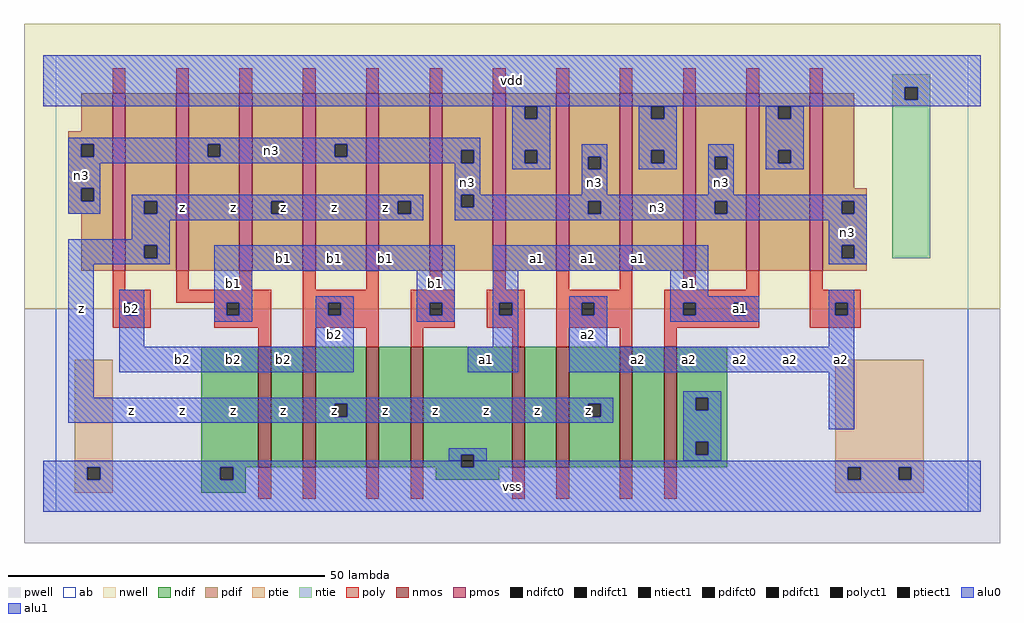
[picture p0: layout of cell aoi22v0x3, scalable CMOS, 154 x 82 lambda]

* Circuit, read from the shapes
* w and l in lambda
.subckt aoi22v0x3 a1 a2 b1 b2 n3 vdd vss z
M1 n1 b1 vss vss nfet w=19 l=2
M2 z b2 n1 vss nfet w=19 l=2
M3 n2 b2 z vss nfet w=19 l=2
M4 vss b1 n2 vss nfet w=19 l=2
M5 n4 a1 vss vss nfet w=19 l=2
M6 z a2 n4 vss nfet w=19 l=2
M7 n5 a2 z vss nfet w=19 l=2
M8 vss a1 n5 vss nfet w=19 l=2
M9 z b2 n3 vdd pfet w=28 l=2 m=3
M10 n3 b1 z vdd pfet w=28 l=2 m=3
M11 vdd a1 n3 vdd pfet w=28 l=2 m=3
M12 n3 a2 vdd vdd pfet w=28 l=2 m=3
.ends

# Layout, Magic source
magic
tech scmos
<< ab >>
rect 0 0 144 72
<< nwell >>
rect -5 32 149 77
<< pwell >>
rect -5 -5 149 32
<< poly >>
rect 9 66 11 70
rect 19 66 21 70
rect 29 66 31 70
rect 39 66 41 70
rect 49 66 51 70
rect 59 66 61 70
rect 69 66 71 70
rect 79 66 81 70
rect 89 66 91 70
rect 99 66 101 70
rect 109 66 111 70
rect 119 66 121 70
rect 9 35 11 38
rect 19 35 21 38
rect 29 35 31 38
rect 39 35 41 38
rect 49 35 51 38
rect 59 35 61 38
rect 69 35 71 38
rect 79 35 81 38
rect 89 35 91 38
rect 99 35 101 38
rect 109 35 111 38
rect 9 33 15 35
rect 19 33 34 35
rect 9 31 11 33
rect 13 31 15 33
rect 9 29 15 31
rect 25 31 27 33
rect 29 31 34 33
rect 25 29 34 31
rect 32 26 34 29
rect 39 33 51 35
rect 39 31 43 33
rect 45 31 51 33
rect 39 29 51 31
rect 39 26 41 29
rect 49 26 51 29
rect 56 33 63 35
rect 56 31 59 33
rect 61 31 63 33
rect 56 29 63 31
rect 68 33 74 35
rect 68 31 70 33
rect 72 31 74 33
rect 68 29 74 31
rect 56 26 58 29
rect 72 26 74 29
rect 79 33 91 35
rect 79 31 83 33
rect 85 31 91 33
rect 79 29 91 31
rect 79 26 81 29
rect 89 26 91 29
rect 96 33 111 35
rect 96 31 99 33
rect 101 31 107 33
rect 109 31 111 33
rect 96 29 111 31
rect 119 35 121 38
rect 119 33 127 35
rect 119 31 123 33
rect 125 31 127 33
rect 119 29 127 31
rect 96 26 98 29
rect 32 2 34 7
rect 39 2 41 7
rect 49 2 51 7
rect 56 2 58 7
rect 72 2 74 7
rect 79 2 81 7
rect 89 2 91 7
rect 96 2 98 7
<< ndif >>
rect 23 7 32 26
rect 34 7 39 26
rect 41 17 49 26
rect 41 15 44 17
rect 46 15 49 17
rect 41 7 49 15
rect 51 7 56 26
rect 58 9 72 26
rect 58 7 64 9
rect 66 7 72 9
rect 74 7 79 26
rect 81 17 89 26
rect 81 15 84 17
rect 86 15 89 17
rect 81 7 89 15
rect 91 7 96 26
rect 98 18 106 26
rect 98 16 101 18
rect 103 16 106 18
rect 98 11 106 16
rect 98 9 101 11
rect 103 9 106 11
rect 98 7 106 9
rect 23 5 26 7
rect 28 5 30 7
rect 23 3 30 5
rect 60 5 70 7
<< pdif >>
rect 4 60 9 66
rect 2 58 9 60
rect 2 56 4 58
rect 6 56 9 58
rect 2 51 9 56
rect 2 49 4 51
rect 6 49 9 51
rect 2 47 9 49
rect 4 38 9 47
rect 11 49 19 66
rect 11 47 14 49
rect 16 47 19 49
rect 11 42 19 47
rect 11 40 14 42
rect 16 40 19 42
rect 11 38 19 40
rect 21 58 29 66
rect 21 56 24 58
rect 26 56 29 58
rect 21 38 29 56
rect 31 49 39 66
rect 31 47 34 49
rect 36 47 39 49
rect 31 38 39 47
rect 41 58 49 66
rect 41 56 44 58
rect 46 56 49 58
rect 41 38 49 56
rect 51 49 59 66
rect 51 47 54 49
rect 56 47 59 49
rect 51 38 59 47
rect 61 57 69 66
rect 61 55 64 57
rect 66 55 69 57
rect 61 50 69 55
rect 61 48 64 50
rect 66 48 69 50
rect 61 38 69 48
rect 71 64 79 66
rect 71 62 74 64
rect 76 62 79 64
rect 71 57 79 62
rect 71 55 74 57
rect 76 55 79 57
rect 71 38 79 55
rect 81 56 89 66
rect 81 54 84 56
rect 86 54 89 56
rect 81 49 89 54
rect 81 47 84 49
rect 86 47 89 49
rect 81 38 89 47
rect 91 64 99 66
rect 91 62 94 64
rect 96 62 99 64
rect 91 57 99 62
rect 91 55 94 57
rect 96 55 99 57
rect 91 38 99 55
rect 101 56 109 66
rect 101 54 104 56
rect 106 54 109 56
rect 101 49 109 54
rect 101 47 104 49
rect 106 47 109 49
rect 101 38 109 47
rect 111 64 119 66
rect 111 62 114 64
rect 116 62 119 64
rect 111 57 119 62
rect 111 55 114 57
rect 116 55 119 57
rect 111 38 119 55
rect 121 51 126 66
rect 121 49 128 51
rect 121 47 124 49
rect 126 47 128 49
rect 121 42 128 47
rect 121 40 124 42
rect 126 40 128 42
rect 121 38 128 40
<< alu1 >>
rect -2 67 146 72
rect -2 65 134 67
rect 136 65 146 67
rect -2 64 146 65
rect 12 49 58 50
rect 12 47 14 49
rect 16 47 34 49
rect 36 47 54 49
rect 56 47 58 49
rect 12 46 58 47
rect 12 43 18 46
rect 2 42 18 43
rect 2 40 14 42
rect 16 40 18 42
rect 2 39 18 40
rect 2 18 6 39
rect 25 38 63 42
rect 10 33 14 35
rect 10 31 11 33
rect 13 31 14 33
rect 10 26 14 31
rect 25 33 31 38
rect 25 31 27 33
rect 29 31 31 33
rect 25 30 31 31
rect 41 33 47 34
rect 41 31 43 33
rect 45 31 47 33
rect 41 26 47 31
rect 57 33 63 38
rect 57 31 59 33
rect 61 31 63 33
rect 57 30 63 31
rect 69 38 103 42
rect 69 33 73 38
rect 97 34 103 38
rect 69 31 70 33
rect 72 31 73 33
rect 69 26 73 31
rect 10 22 47 26
rect 65 22 73 26
rect 81 33 87 34
rect 81 31 83 33
rect 85 31 87 33
rect 81 26 87 31
rect 97 33 111 34
rect 97 31 99 33
rect 101 31 107 33
rect 109 31 111 33
rect 97 30 111 31
rect 122 33 126 35
rect 122 31 123 33
rect 125 31 126 33
rect 122 26 126 31
rect 81 22 126 26
rect 2 17 88 18
rect 2 15 44 17
rect 46 15 84 17
rect 86 15 88 17
rect 2 14 88 15
rect 122 13 126 22
rect -2 7 64 8
rect 66 7 146 8
rect -2 5 5 7
rect 7 5 26 7
rect 28 5 125 7
rect 127 5 133 7
rect 135 5 146 7
rect -2 0 146 5
<< ptie >>
rect 3 7 9 24
rect 3 5 5 7
rect 7 5 9 7
rect 3 3 9 5
rect 123 7 137 24
rect 123 5 125 7
rect 127 5 133 7
rect 135 5 137 7
rect 123 3 137 5
<< ntie >>
rect 132 67 138 69
rect 132 65 134 67
rect 136 65 138 67
rect 132 40 138 65
<< nmos >>
rect 32 7 34 26
rect 39 7 41 26
rect 49 7 51 26
rect 56 7 58 26
rect 72 7 74 26
rect 79 7 81 26
rect 89 7 91 26
rect 96 7 98 26
<< pmos >>
rect 9 38 11 66
rect 19 38 21 66
rect 29 38 31 66
rect 39 38 41 66
rect 49 38 51 66
rect 59 38 61 66
rect 69 38 71 66
rect 79 38 81 66
rect 89 38 91 66
rect 99 38 101 66
rect 109 38 111 66
rect 119 38 121 66
<< polyct1 >>
rect 11 31 13 33
rect 27 31 29 33
rect 43 31 45 33
rect 59 31 61 33
rect 70 31 72 33
rect 83 31 85 33
rect 99 31 101 33
rect 107 31 109 33
rect 123 31 125 33
<< ndifct0 >>
rect 64 8 66 9
rect 101 16 103 18
rect 101 9 103 11
<< ndifct1 >>
rect 44 15 46 17
rect 64 7 66 8
rect 84 15 86 17
rect 26 5 28 7
<< ntiect1 >>
rect 134 65 136 67
<< ptiect1 >>
rect 5 5 7 7
rect 125 5 127 7
rect 133 5 135 7
<< pdifct0 >>
rect 4 56 6 58
rect 4 49 6 51
rect 24 56 26 58
rect 44 56 46 58
rect 64 55 66 57
rect 64 48 66 50
rect 74 62 76 64
rect 74 55 76 57
rect 84 54 86 56
rect 84 47 86 49
rect 94 62 96 64
rect 94 55 96 57
rect 104 54 106 56
rect 104 47 106 49
rect 114 62 116 64
rect 114 55 116 57
rect 124 47 126 49
rect 124 40 126 42
<< pdifct1 >>
rect 14 47 16 49
rect 14 40 16 42
rect 34 47 36 49
rect 54 47 56 49
<< alu0 >>
rect 72 62 74 64
rect 76 62 78 64
rect 2 58 67 59
rect 2 56 4 58
rect 6 56 24 58
rect 26 56 44 58
rect 46 57 67 58
rect 46 56 64 57
rect 2 55 64 56
rect 66 55 67 57
rect 2 51 7 55
rect 2 49 4 51
rect 6 49 7 51
rect 63 50 67 55
rect 72 57 78 62
rect 92 62 94 64
rect 96 62 98 64
rect 72 55 74 57
rect 76 55 78 57
rect 72 54 78 55
rect 83 56 87 58
rect 83 54 84 56
rect 86 54 87 56
rect 92 57 98 62
rect 112 62 114 64
rect 116 62 118 64
rect 92 55 94 57
rect 96 55 98 57
rect 92 54 98 55
rect 103 56 107 58
rect 103 54 104 56
rect 106 54 107 56
rect 112 57 118 62
rect 112 55 114 57
rect 116 55 118 57
rect 112 54 118 55
rect 83 50 87 54
rect 103 50 107 54
rect 2 47 7 49
rect 63 48 64 50
rect 66 49 128 50
rect 66 48 84 49
rect 63 47 84 48
rect 86 47 104 49
rect 106 47 124 49
rect 126 47 128 49
rect 63 46 128 47
rect 122 42 128 46
rect 122 40 124 42
rect 126 40 128 42
rect 122 39 128 40
rect 99 18 105 19
rect 99 16 101 18
rect 103 16 105 18
rect 99 11 105 16
rect 62 9 68 10
rect 62 8 64 9
rect 66 8 68 9
rect 99 9 101 11
rect 103 9 105 11
rect 99 8 105 9
<< labels >>
rlabel alu0 4 53 4 53 6 n3
rlabel alu0 65 52 65 52 6 n3
rlabel alu0 34 57 34 57 6 n3
rlabel alu0 85 52 85 52 6 n3
rlabel alu0 95 48 95 48 6 n3
rlabel alu0 125 44 125 44 6 n3
rlabel alu0 105 52 105 52 6 n3
rlabel alu1 12 16 12 16 6 z
rlabel alu1 20 16 20 16 6 z
rlabel alu1 20 24 20 24 6 b2
rlabel polyct1 12 32 12 32 6 b2
rlabel alu1 4 32 4 32 6 z
rlabel alu1 20 48 20 48 6 z
rlabel alu1 36 16 36 16 6 z
rlabel alu1 44 16 44 16 6 z
rlabel alu1 52 16 52 16 6 z
rlabel alu1 28 16 28 16 6 z
rlabel alu1 28 24 28 24 6 b2
rlabel alu1 36 24 36 24 6 b2
rlabel alu1 44 28 44 28 6 b2
rlabel alu1 28 36 28 36 6 b1
rlabel alu1 36 40 36 40 6 b1
rlabel alu1 44 40 44 40 6 b1
rlabel alu1 52 40 52 40 6 b1
rlabel alu1 28 48 28 48 6 z
rlabel alu1 36 48 36 48 6 z
rlabel alu1 44 48 44 48 6 z
rlabel alu1 52 48 52 48 6 z
rlabel alu1 72 4 72 4 6 vss
rlabel alu1 68 16 68 16 6 z
rlabel alu1 76 16 76 16 6 z
rlabel alu1 84 16 84 16 6 z
rlabel alu1 60 16 60 16 6 z
rlabel alu1 68 24 68 24 6 a1
rlabel alu1 84 28 84 28 6 a2
rlabel alu1 60 36 60 36 6 b1
rlabel alu1 76 40 76 40 6 a1
rlabel alu1 84 40 84 40 6 a1
rlabel alu1 72 68 72 68 6 vdd
rlabel alu1 100 24 100 24 6 a2
rlabel alu1 108 24 108 24 6 a2
rlabel alu1 92 24 92 24 6 a2
rlabel polyct1 108 32 108 32 6 a1
rlabel alu1 92 40 92 40 6 a1
rlabel alu1 100 36 100 36 6 a1
rlabel alu1 116 24 116 24 6 a2
rlabel alu1 124 24 124 24 6 a2
<< end >>
